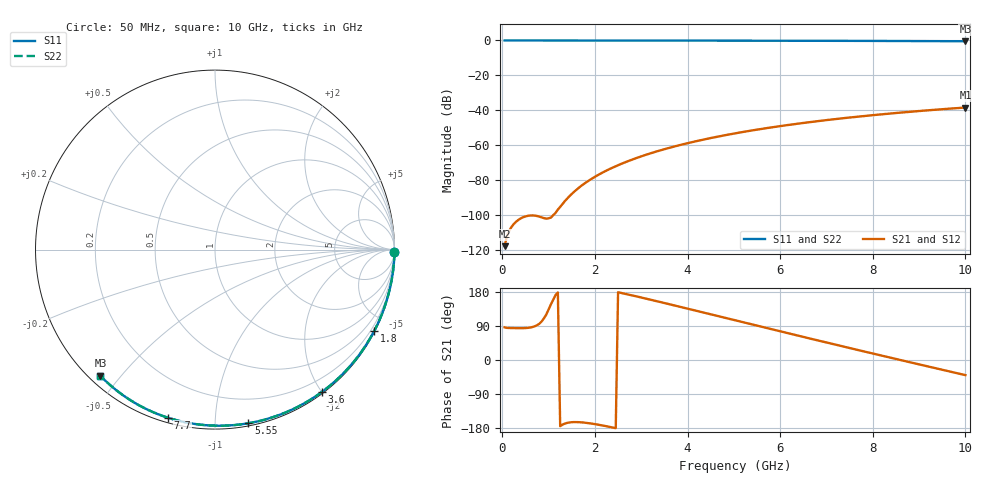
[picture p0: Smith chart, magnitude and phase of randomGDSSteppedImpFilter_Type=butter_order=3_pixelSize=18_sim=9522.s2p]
! freq	dB(S11)	phase(S11)	dB(S12)	phase(S12)
!  dB(S21)	phase(S21)	dB(S22)	phase(S22)
!S-par simulation data
#  GHz  S  DB  R 50
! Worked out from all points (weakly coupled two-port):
!   200 points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, 50 MHz to 10 GHz, reference 50 ohm
!   highest |S21| = -38.33 dB at 10 GHz (marker M1); lowest = -117.6 dB at 50 MHz (marker M2)
!   lowest |S11| = -0.4 dB at 10 GHz (marker M3), VSWR 38.81, Z = 1.54 - j22.1 ohm
!   |S11| at or under -10 dB: nowhere
!   |S22| runs from -0.4 to 0.0 dB; largest |S21 - S12| = 0
!   S11 on the Smith chart (normalised r, x): 50 MHz: open; 1.8 GHz: 0.04, -4.15; 3.6 GHz: 0.02, -2.01; 5.55 GHz: 0.02, -1.21; 7.7 GHz: 0.02, -0.76; 10 GHz: 0.03, -0.44
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0.05  -0.00 -0.8  -117.58 86.2  -117.58 86.2  -0.00 -0.8
0.9  -0.02 -13.7  -101.55 110.3  -101.55 110.3  -0.02 -13.7
1.75  -0.03 -26.4  -82.24 -165.0  -82.24 -165.0  -0.03 -26.4
1.8  -0.03 -27.1  -81.30 -165.6  -81.30 -165.6  -0.03 -27.1
1.85  -0.04 -27.8  -80.40 -166.4  -80.40 -166.4  -0.04 -27.8
1.9  -0.04 -28.6  -79.55 -167.3  -79.55 -167.3  -0.04 -28.6
2.05  -0.04 -30.8  -77.17 -170.2  -77.17 -170.2  -0.04 -30.8
2.25  -0.04 -33.7  -74.36 -174.8  -74.36 -174.8  -0.04 -33.7
2.45  -0.05 -36.6  -71.88 -179.9  -71.88 -179.9  -0.05 -36.6
2.65  -0.05 -39.5  -69.66 174.7  -69.66 174.7  -0.05 -39.5
3  -0.06 -44.5  -66.25 164.9  -66.25 164.9  -0.06 -44.5
3.4  -0.07 -50.2  -62.91 153.3  -62.91 153.3  -0.07 -50.2
3.6  -0.07 -53.0  -61.42 147.4  -61.42 147.4  -0.07 -53.0
4.3  -0.09 -62.6  -56.91 126.6  -56.91 126.6  -0.09 -62.6
5.05  -0.11 -72.6  -52.99 104.1  -52.99 104.1  -0.11 -72.6
5.55  -0.13 -79.1  -50.76 89.2  -50.76 89.2  -0.13 -79.1
6.1  -0.15 -86.1  -48.58 72.8  -48.58 72.8  -0.15 -86.1
6.7  -0.18 -93.6  -46.48 55.0  -46.48 55.0  -0.18 -93.6
7.7  -0.24 -105.7  -43.50 25.8  -43.50 25.8  -0.24 -105.7
8.35  -0.29 -113.3  -41.83 7.0  -41.83 7.0  -0.29 -113.3
9.15  -0.36 -122.6  -40.02 -15.8  -40.02 -15.8  -0.36 -122.6
10  -0.45 -132.2  -38.33 -39.9  -38.33 -39.9  -0.45 -132.2
